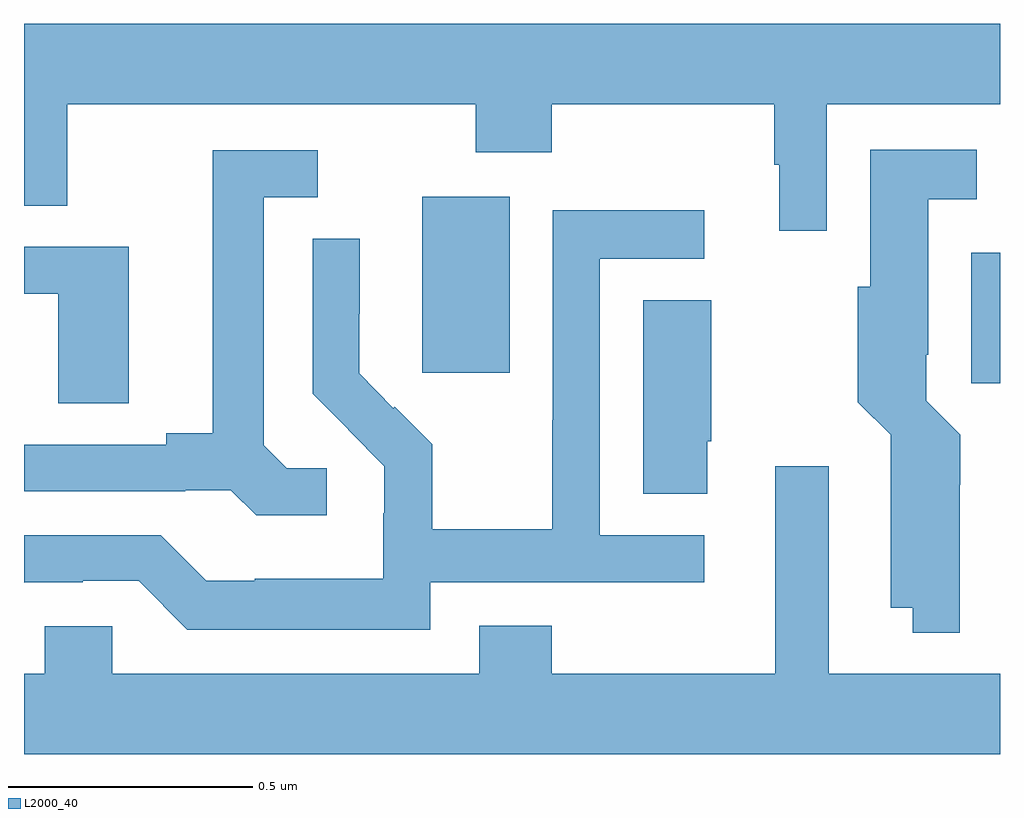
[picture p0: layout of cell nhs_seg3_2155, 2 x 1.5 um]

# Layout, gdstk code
import gdstk
lib = gdstk.Library(unit=1e-6, precision=1e-09)
def R(c, l, rs):  # rectangles x0, y0, x1, y1
    for r in rs: c.add(gdstk.rectangle(r[:2], r[2:], *l))
def P(c, l, *ps):  # polygons
    for p in ps: c.add(gdstk.Polygon(p, *l))
L2000_40 = (2000, 40)

nhs_seg3_2155 = lib.new_cell('nhs_seg3_2155')
R(nhs_seg3_2155, L2000_40, [(138.941,728.316,139,728.583), (137.816,728.337,137.995,728.698)])
P(nhs_seg3_2155, L2000_40, [(138.645,728.888),(139,728.888),(139,729.052),(137,729.052),(137,728.68),(137.089,728.68),(137.089,728.888),(137.926,728.888),(137.926,728.789),(138.081,728.789),(138.081,728.888),(138.537,728.888),(138.537,728.764),(138.548,728.764),(138.548,728.628),(138.645,728.628)],
  [(138.918,728.108),(138.919,728.108),(138.919,728.21),(138.849,728.28),(138.849,728.374),(138.853,728.374),(138.853,728.693),(138.952,728.693),(138.952,728.794),(138.734,728.794),(138.734,728.514),(138.709,728.514),(138.709,728.277),(138.776,728.21),(138.776,727.856),(138.821,727.856),(138.821,727.805),(138.918,727.805)],
  [(137.62,728.142),(137.538,728.142),(137.491,728.189),(137.491,728.697),(137.602,728.697),(137.602,728.793),(137.387,728.793),(137.387,728.213),(137.291,728.213),(137.291,728.19),(137,728.19),(137,728.094),(137.33,728.094),(137.33,728.097),(137.424,728.097),(137.476,728.045),(137.62,728.045)],
  [(137.832,727.908),(138.394,727.908),(138.394,728.004),(138.18,728.004),(138.18,728.571),(138.394,728.571),(138.394,728.67),(138.084,728.67),(138.084,728.24),(138.082,728.24),(138.082,728.017),(137.837,728.017),(137.837,728.191),(137.76,728.268),(137.757,728.265),(137.687,728.336),(137.687,728.458),(137.688,728.458),(137.688,728.612),(137.592,728.612),(137.592,728.294),(137.665,728.221),(137.664,728.22),(137.738,728.146),(137.738,728.049),(137.736,728.049),(137.736,727.915),(137.473,727.915),(137.473,727.911),(137.373,727.911),(137.28,728.004),(137,728.004),(137,727.907),(137.001,727.908),(137.12,727.908),(137.12,727.911),(137.235,727.911),(137.335,727.811),(137.832,727.811)],
  [(137.215,728.595),(137,728.595),(137,728.499),(137.07,728.499),(137.07,728.275),(137.215,728.275)],
  [(138.4,728.197),(138.408,728.197),(138.408,728.486),(138.269,728.486),(138.269,728.089),(138.4,728.089)],
  [(139,727.72),(138.649,727.72),(138.649,728.146),(138.539,728.146),(138.539,727.72),(138.081,727.72),(138.081,727.819),(137.933,727.819),(137.933,727.72),(137.181,727.72),(137.181,727.818),(137.043,727.818),(137.043,727.72),(137,727.72),(137,727.556),(139,727.556)])

lib.write_gds('nhs_seg3_2155.gds')
